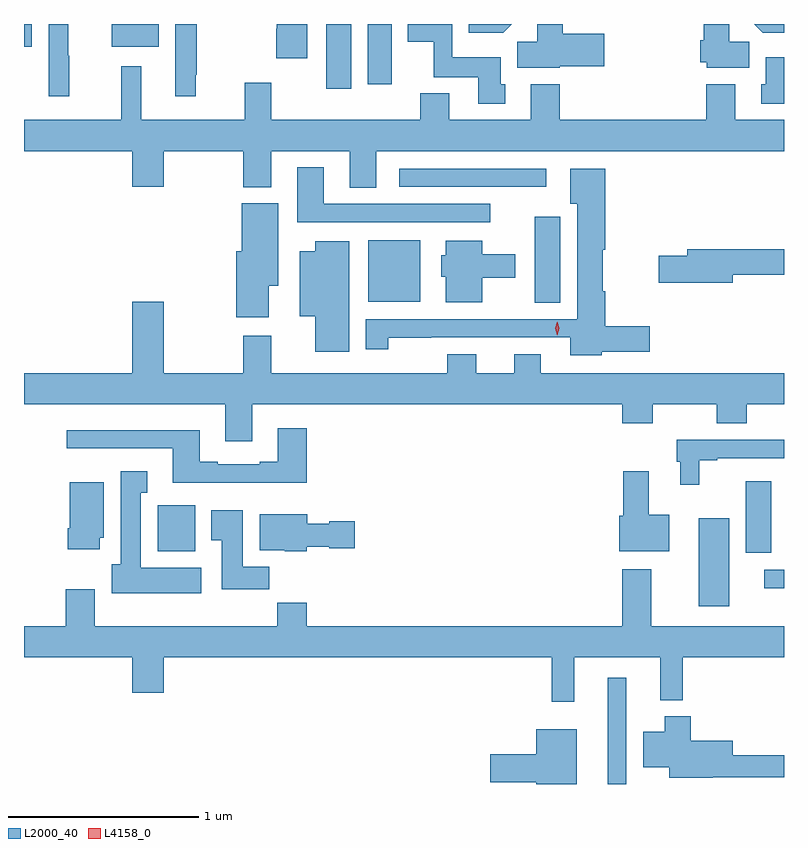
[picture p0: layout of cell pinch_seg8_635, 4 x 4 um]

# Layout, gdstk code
import gdstk
lib = gdstk.Library(unit=1e-6, precision=1e-09)
def R(c, l, rs):  # rectangles x0, y0, x1, y1
    for r in rs: c.add(gdstk.rectangle(r[:2], r[2:], *l))
def P(c, l, *ps):  # polygons
    for p in ps: c.add(gdstk.Polygon(p, *l))
L2000_40 = (2000, 40)
L4158_0 = (4158, 0)

pinch_seg8_635 = lib.new_cell('pinch_seg8_635')
R(pinch_seg8_635, L2000_40, [(335.342,1090.525,335.439,1091.083), (335.819,1091.46,335.98,1091.923), (336.165,1091.555,336.269,1091.652), (336.068,1091.742,336.202,1092.118), (332.972,1091.75,333.169,1091.992), (334.958,1093.057,335.092,1093.51), (334.082,1093.064,334.354,1093.387), (334.245,1093.668,335.017,1093.764), (333.86,1094.184,333.991,1094.525), (334.079,1094.208,334.204,1094.525), (332.269,1094.405,332.311,1094.525), (332.732,1094.405,332.977,1094.525)])
P(pinch_seg8_635, L2000_40, [(335.088,1094.303),(335.323,1094.303),(335.323,1094.474),(335.105,1094.474),(335.105,1094.525),(334.97,1094.525),(334.97,1094.432),(334.865,1094.432),(334.865,1094.294),(335.088,1094.294)],
  [(336.269,1094.525),(336.113,1094.525),(336.158,1094.48),(336.269,1094.48)],
  [(333.172,1094.257),(333.179,1094.257),(333.179,1094.525),(333.065,1094.525),(333.065,1094.145),(333.172,1094.145)],
  [(332.506,1094.357),(332.503,1094.357),(332.503,1094.525),(332.399,1094.525),(332.399,1094.145),(332.506,1094.145)],
  [(334.837,1094.525),(334.609,1094.525),(334.609,1094.48),(334.792,1094.48)],
  [(333.76,1094.525),(333.598,1094.525),(333.598,1094.499),(333.596,1094.499),(333.596,1094.346),(333.76,1094.346)],
  [(336.085,1094.432),(335.98,1094.432),(335.98,1094.525),(335.846,1094.525),(335.846,1094.439),(335.828,1094.439),(335.828,1094.325),(335.862,1094.325),(335.862,1094.294),(336.085,1094.294)],
  [(334.801,1094.208),(334.777,1094.208),(334.777,1094.35),(334.524,1094.35),(334.524,1094.525),(334.289,1094.525),(334.289,1094.432),(334.426,1094.432),(334.426,1094.246),(334.661,1094.246),(334.661,1094.106),(334.801,1094.106)],
  [(336.269,1094.35),(336.173,1094.35),(336.173,1094.208),(336.149,1094.208),(336.149,1094.106),(336.269,1094.106)],
  [(334.123,1093.856),(336.269,1093.856),(336.269,1094.02),(336.013,1094.02),(336.013,1094.209),(335.861,1094.209),(335.861,1094.02),(335.09,1094.02),(335.09,1094.209),(334.937,1094.209),(334.937,1094.02),(334.507,1094.02),(334.507,1094.161),(334.355,1094.161),(334.355,1094.02),(333.571,1094.02),(333.571,1094.215),(333.431,1094.215),(333.431,1094.02),(332.887,1094.02),(332.887,1094.302),(332.781,1094.302),(332.781,1094.02),(332.269,1094.02),(332.269,1093.856),(332.84,1093.856),(332.84,1093.668),(333.004,1093.668),(333.004,1093.856),(333.424,1093.856),(333.424,1093.667),(333.571,1093.667),(333.571,1093.856),(333.983,1093.856),(333.983,1093.663),(334.123,1093.663)],
  [(334.723,1093.578),(333.847,1093.578),(333.847,1093.771),(333.707,1093.771),(333.707,1093.482),(334.723,1093.482)],
  [(335.31,1092.8),(335.563,1092.8),(335.563,1092.935),(335.327,1092.935),(335.327,1093.118),(335.314,1093.118),(335.314,1093.338),(335.327,1093.338),(335.327,1093.762),(335.144,1093.762),(335.144,1093.58),(335.18,1093.58),(335.18,1092.972),(334.067,1092.972),(334.067,1092.813),(334.185,1092.813),(334.185,1092.875),(334.412,1092.875),(334.412,1092.876),(335.144,1092.876),(335.144,1092.782),(335.31,1092.782)],
  [(333.556,1093.148),(333.607,1093.148),(333.607,1093.582),(333.416,1093.582),(333.416,1093.329),(333.386,1093.329),(333.386,1092.981),(333.556,1092.981)],
  [(334.681,1093.19),(334.855,1093.19),(334.855,1093.312),(334.681,1093.312),(334.681,1093.384),(334.49,1093.384),(334.49,1093.308),(334.466,1093.308),(334.466,1093.194),(334.49,1093.194),(334.49,1093.061),(334.681,1093.061)],
  [(333.982,1093.381),(333.803,1093.381),(333.803,1093.33),(333.719,1093.33),(333.719,1092.986),(333.803,1092.986),(333.803,1092.8),(333.982,1092.8)],
  [(335.998,1093.204),(336.269,1093.204),(336.269,1093.34),(335.759,1093.34),(335.759,1093.304),(335.61,1093.304),(335.61,1093.162),(335.998,1093.162)],
  [(333.469,1092.524),(335.417,1092.524),(335.417,1092.425),(335.577,1092.425),(335.577,1092.524),(335.914,1092.524),(335.914,1092.425),(336.074,1092.425),(336.074,1092.524),(336.269,1092.524),(336.269,1092.688),(334.99,1092.688),(334.99,1092.787),(334.85,1092.787),(334.85,1092.688),(334.648,1092.688),(334.648,1092.787),(334.496,1092.787),(334.496,1092.688),(333.571,1092.688),(333.571,1092.883),(333.424,1092.883),(333.424,1092.688),(333.004,1092.688),(333.004,1093.063),(332.84,1093.063),(332.84,1092.688),(332.269,1092.688),(332.269,1092.524),(333.329,1092.524),(333.329,1092.33),(333.469,1092.33)],
  [(333.758,1092.397),(333.605,1092.397),(333.605,1092.22),(333.509,1092.22),(333.509,1092.207),(333.289,1092.207),(333.289,1092.22),(333.193,1092.22),(333.193,1092.388),(332.493,1092.388),(332.493,1092.291),(333.053,1092.291),(333.053,1092.11),(333.758,1092.11)],
  [(335.823,1092.228),(335.917,1092.228),(335.917,1092.24),(336.269,1092.24),(336.269,1092.336),(335.704,1092.336),(335.704,1092.222),(335.723,1092.222),(335.723,1092.099),(335.823,1092.099)],
  [(335.665,1091.941),(335.557,1091.941),(335.557,1092.172),(335.423,1092.172),(335.423,1091.937),(335.402,1091.937),(335.402,1091.75),(335.665,1091.75)],
  [(333.202,1091.662),(332.884,1091.662),(332.884,1092.059),(332.917,1092.059),(332.917,1092.172),(332.777,1092.172),(332.777,1091.682),(332.732,1091.682),(332.732,1091.528),(333.202,1091.528)],
  [(332.668,1091.82),(332.689,1091.82),(332.689,1092.112),(332.51,1092.112),(332.51,1091.872),(332.498,1091.872),(332.498,1091.76),(332.668,1091.76)],
  [(333.56,1091.668),(333.421,1091.668),(333.421,1091.965),(333.254,1091.965),(333.254,1091.809),(333.311,1091.809),(333.311,1091.55),(333.56,1091.55)],
  [(333.756,1091.774),(333.876,1091.774),(333.876,1091.767),(334.009,1091.767),(334.009,1091.909),(333.876,1091.909),(333.876,1091.896),(333.76,1091.896),(333.76,1091.944),(333.509,1091.944),(333.509,1091.756),(333.642,1091.756),(333.642,1091.75),(333.756,1091.75)],
  [(335.165,1091.192),(335.618,1091.192),(335.618,1090.967),(335.735,1090.967),(335.735,1091.192),(336.269,1091.192),(336.269,1091.356),(335.569,1091.356),(335.569,1091.656),(335.417,1091.656),(335.417,1091.356),(333.758,1091.356),(333.758,1091.48),(333.601,1091.48),(333.601,1091.356),(332.641,1091.356),(332.641,1091.551),(332.489,1091.551),(332.489,1091.356),(332.269,1091.356),(332.269,1091.192),(332.84,1091.192),(332.84,1091.004),(333.004,1091.004),(333.004,1091.192),(335.047,1091.192),(335.047,1090.959),(335.165,1090.959)],
  [(335.894,1090.56),(336.269,1090.56),(336.269,1090.676),(335.998,1090.676),(335.998,1090.753),(335.777,1090.753),(335.777,1090.882),(335.642,1090.882),(335.642,1090.801),(335.528,1090.801),(335.528,1090.613),(335.666,1090.613),(335.666,1090.559),(335.894,1090.559)],
  [(335.179,1090.813),(334.964,1090.813),(334.964,1090.682),(334.722,1090.682),(334.722,1090.535),(334.964,1090.535),(334.964,1090.525),(335.179,1090.525)])
P(pinch_seg8_635, L4158_0, [(335.075,1092.888),(335.075,1092.888),(335.065,1092.923),(335.075,1092.958),(335.075,1092.959),(335.075,1092.958),(335.085,1092.923),(335.075,1092.888)])

lib.write_gds('pinch_seg8_635.gds')
